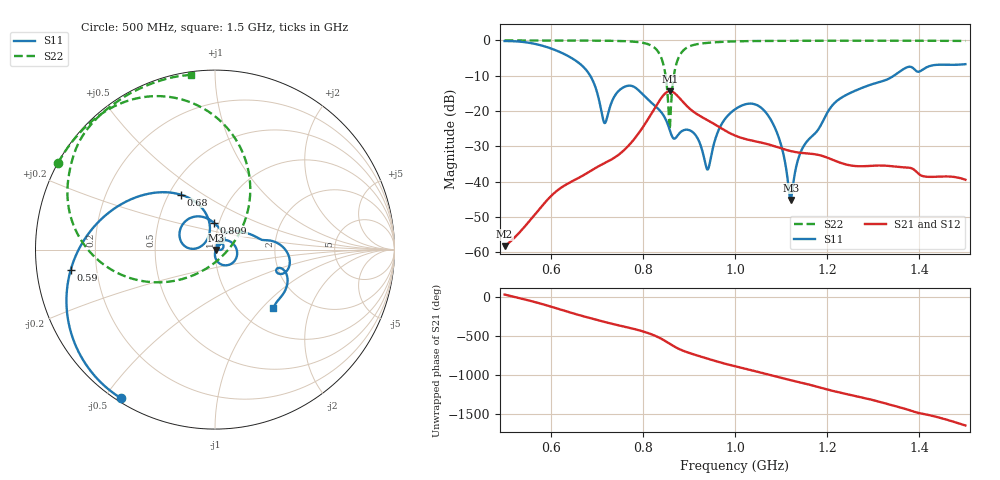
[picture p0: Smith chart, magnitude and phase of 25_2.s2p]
! TOUCHSTONE file generated by CST MICROWAVE STUDIO
! Date and time: Wed Oct 28 19:38:10 2020
! Project name: Scenario_1_Circular_Tissue_out_of_Line_v2.cst
! Parameters = {dy1=69.2; L_HA=400; MT=2.54; Rad_Dielectric=30; Rad_Lower=7.3; Rad_Upper=30; a_HA=580; a_WG=246; b_HA=500; b_WG=121; c_HA=0; c_WG=187; d_feed=85; dx1=346; h_feed=15; h_lower=18; h_upper=40}
! Header version: 2018
! Port assignment regex: !\s*Touchstone port\s*([0-9]+)\s*=\s*(CST MWS port|CST DS port)\s*([0-9]+|Zmin|Zmax)\s*\(\"(.*)\"\)(\s*mode\s*([0-9]+))?.*
! Touchstone port assignment:
! Touchstone port 1 = CST MWS port 1 ("")
! Touchstone port 2 = CST MWS port 2 ("")
# GHz S DB R 50
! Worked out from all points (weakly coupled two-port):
!   1003 points, 500 MHz to 1.5 GHz, reference 50 ohm
!   highest |S21| = -14.38 dB at 859 MHz (marker M1); lowest = -58.3 dB at 500 MHz (marker M2)
!   lowest |S11| = -45.2 dB at 1.121 GHz (marker M3), VSWR 1.01, Z = 50.5 - j0.184 ohm
!   |S11| at or under -10 dB: 685.8 MHz to 1.345 GHz (658.9 MHz wide, 64.9 % of centre)
!   |S22| runs from -25.2 to 0.0 dB; largest |S21 - S12| = 5.9e-05
!   S11 on the Smith chart (normalised r, x): 500 MHz: 0.01, -0.55; 590 MHz: 0.10, -0.07; 680 MHz: 0.58, +0.40; 809 MHz: 0.94, +0.29; 1.5 GHz: 1.40, -1.16
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0.5  -0.18 -122.3  -58.31 30.6  -58.31 30.6  -0.01 151.1
0.59  -1.81 -172.0  -45.58 -105.8  -45.58 -105.8  -0.02 144.9
0.667  -7.02 134.3  -38.52 118.4  -38.52 118.4  -0.04 138.4
0.68  -8.87 121.9  -37.52 97.8  -37.52 97.8  -0.05 137.0
0.717  -23.42 140.2  -34.77 38.8  -34.77 38.8  -0.09 132.7
0.758  -13.29 156.1  -31.25 -18.3  -31.25 -18.3  -0.20 125.8
0.809  -16.49 92.6  -22.79 -98.8  -22.79 -98.8  -0.96 107.7
0.834  -19.47 67.5  -17.48 -158.3  -17.48 -158.3  -3.36 84.1
0.859  -25.64 40.5  -14.38 116.8  -14.38 116.8  -24.20 -76.3
0.881  -26.11 57.0  -16.55 45.9  -16.55 45.9  -4.01 -172.8
0.913  -26.60 12.7  -20.50 -22.2  -20.50 -22.2  -1.19 160.4
0.941  -36.57 34.0  -22.64 -73.2  -22.64 -73.2  -0.68 150.9
0.967  -24.69 57.0  -24.66 -118.5  -24.66 -118.5  -0.44 145.5
1  -19.53 18.7  -26.95 -168.8  -26.95 -168.8  -0.27 140.3
1.073  -21.49 -70.2  -29.48 82.6  -29.48 82.6  -0.14 132.1
1.099  -29.16 -90.3  -30.54 43.3  -30.54 43.3  -0.12 129.7
1.121  -45.20 -19.4  -31.36 12.1  -31.36 12.1  -0.11 127.8
1.141  -32.16 43.9  -31.83 -15.7  -31.83 -15.7  -0.11 126.2
1.167  -27.17 47.8  -32.15 -54.3  -32.15 -54.3  -0.10 124.2
1.224  -16.85 45.8  -34.46 -141.9  -34.46 -141.9  -0.08 119.8
1.334  -10.84 10.5  -35.57 61.8  -35.57 61.8  -0.09 111.5
1.5  -6.72 -45.1  -39.49 151.2  -39.53 151.3  -0.15 97.9
